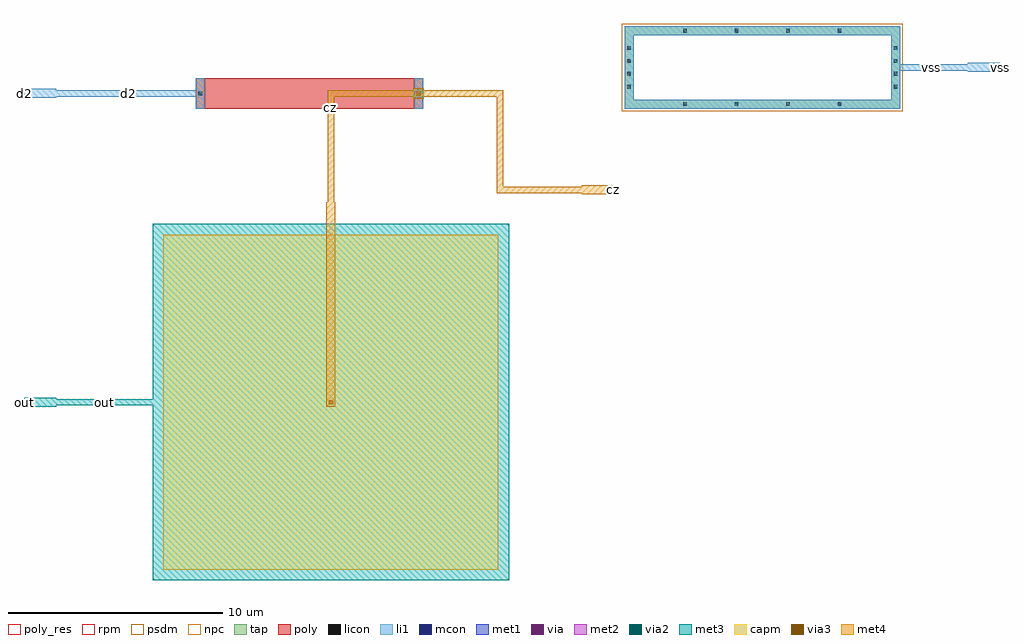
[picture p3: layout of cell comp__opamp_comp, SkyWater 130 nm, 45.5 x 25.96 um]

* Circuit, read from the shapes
.subckt comp__opamp_comp cz d2 out vss
XC1 cz out sky130_fd_pr__cap_mim_m3_1 w=15.62 l=15.62
XR2 cz d2 vss sky130_fd_pr__res_high_po w=1.41 l=9.645
.ends

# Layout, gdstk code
import gdstk
lib = gdstk.Library(unit=1e-6, precision=1e-09)
def R(c, l, rs):  # rectangles x0, y0, x1, y1
    for r in rs: c.add(gdstk.rectangle(r[:2], r[2:], *l))
def A(c, l, x, y, w, h, nx, ny, dx, dy):  # array of equal rectangles
    R(c, l, [(x+i*dx, y+j*dy, x+i*dx+w, y+j*dy+h) for i in range(nx) for j in range(ny)])
def P(c, l, *ps):  # polygons
    for p in ps: c.add(gdstk.Polygon(p, *l))
tap = (65, 44)
poly_res = (66, 13)
poly = (66, 20)
licon = (66, 44)
li1 = (67, 20)
mcon = (67, 44)
met1 = (68, 20)
via = (68, 44)
met2 = (69, 20)
via2 = (69, 44)
met3 = (70, 20)
via3 = (70, 44)
met4 = (71, 20)
rpm = (86, 20)
capm = (89, 44)
psdm = (94, 20)
npc = (95, 20)

pin_vss__stub_metal_1 = lib.new_cell('pin_vss__stub_metal$1')
R(pin_vss__stub_metal_1, li1, [(0,0,1.5,0.42)])

pin_cz__stub_metal5 = lib.new_cell('pin_cz__stub_metal5')
R(pin_cz__stub_metal5, met4, [(0,0,1.5,0.42)])

pin_out__stub_metal4 = lib.new_cell('pin_out__stub_metal4')
R(pin_out__stub_metal4, met3, [(0,0,1.5,0.42)])

pin_d2__stub_metal = lib.new_cell('pin_d2__stub_metal')
R(pin_d2__stub_metal, li1, [(0,0,1.5,0.42)])

rz_masks__comp_rz_masks = lib.new_cell('rz_masks__comp_rz_masks')
R(rz_masks__comp_rz_masks, rpm, [(2.005,22,12.61,23.41)])
R(rz_masks__comp_rz_masks, psdm, [(2.005,22,12.61,23.41)])
R(rz_masks__comp_rz_masks, npc, [(2.005,22,12.61,23.41)])

tap_masks__comp_tap_mask = lib.new_cell('tap_masks__comp_tap_masks')
R(tap_masks__comp_tap_mask, psdm, [(-0.125,-0.125,12.965,3.965)])

guard_ring = lib.new_cell('guard_ring')
P(guard_ring, tap, [(0,0),(0,3.42),(0.42,3.42),(0.42,0.42),(12.42,0.42),(12.42,3.42),(0,3.42),(0,3.84),(12.84,3.84),(12.84,0)])
A(guard_ring, licon, 2.735, 0.125, 0.17, 0.17, 4, 2, 2.4, 3.42)
A(guard_ring, licon, 0.125, 0.935, 0.17, 0.17, 1, 4, 0, 0.6)
A(guard_ring, licon, 12.545, 0.935, 0.17, 0.17, 1, 4, 0, 0.6)
P(guard_ring, li1, [(0,0),(0,3.42),(0.42,3.42),(0.42,0.42),(12.42,0.42),(12.42,3.42),(0,3.42),(0,3.84),(12.84,3.84),(12.84,0)])

tap__comp_tap = lib.new_cell('tap__comp_tap')
tap__comp_tap.add(gdstk.Reference(guard_ring, (0,0)))

cap_array = lib.new_cell('cap_array')
R(cap_array, met3, [(0,0,16.62,16.62)])
R(cap_array, via3, [(8.21,8.21,8.41,8.41)])
R(cap_array, met4, [(8.1,8.1,8.52,8.52), (8.1,8.52,8.52,17.12), (8.1,17.12,8.52,17.54)])
R(cap_array, capm, [(0.5,0.5,16.12,16.12)])

cc__comp_cc = lib.new_cell('cc__comp_cc')
cc__comp_cc.add(gdstk.Reference(cap_array, (0,0)))

res_array = lib.new_cell('res_array')
R(res_array, poly_res, [(0.42,0,10.185,1.41)])
R(res_array, poly, [(0,0,10.605,1.41)])
R(res_array, licon, [(0.125,0.62,0.295,0.79), (10.31,0.62,10.48,0.79)])
R(res_array, li1, [(0,0,0.42,1.41), (10.185,0,10.605,1.41)])
R(res_array, rpm, [(0.42,0,10.185,1.41)])
R(res_array, psdm, [(0.42,0,10.185,1.41)])

rz__comp_rz = lib.new_cell('rz__comp_rz')
rz__comp_rz.add(gdstk.Reference(res_array, (0,0)))

comp__opamp_comp = lib.new_cell('comp__opamp_comp')
R(comp__opamp_comp, li1, [(12.19,22.495,12.61,22.915), (12.19,22.495,12.61,22.915)])
R(comp__opamp_comp, mcon, [(12.315,22.62,12.485,22.79), (12.315,22.62,12.485,22.79)])
R(comp__opamp_comp, met1, [(12.19,22.495,12.61,22.915), (12.19,22.495,12.61,22.915), (12.19,22.495,12.61,22.915), (12.19,22.495,12.61,22.915)])
R(comp__opamp_comp, via, [(12.325,22.63,12.475,22.78), (12.325,22.63,12.475,22.78)])
R(comp__opamp_comp, met2, [(12.19,22.495,12.61,22.915), (12.19,22.495,12.61,22.915), (12.19,22.495,12.61,22.915), (12.19,22.495,12.61,22.915)])
R(comp__opamp_comp, via2, [(12.3,22.605,12.5,22.805), (12.3,22.605,12.5,22.805)])
R(comp__opamp_comp, met3, [(12.155,22.46,12.645,22.95), (12.155,22.46,12.645,22.95), (12.155,22.46,12.645,22.95), (12.155,22.46,12.645,22.95)])
R(comp__opamp_comp, via3, [(12.3,22.605,12.5,22.805), (12.3,22.605,12.5,22.805)])
R(comp__opamp_comp, met4, [(8.1,17.33,8.52,17.63), (12.155,22.46,12.645,22.95), (12.155,22.46,12.645,22.95)])
comp__opamp_comp.add(gdstk.FlexPath([(2.215,22.705),(-4.5,22.705)], 0.3, ends="flush", simple_path=True, layer=67, datatype=20))  # li1
comp__opamp_comp.add(gdstk.FlexPath([(34.63,23.92),(38,23.92)], 0.3, ends="flush", simple_path=True, layer=67, datatype=20))  # li1
comp__opamp_comp.add(gdstk.FlexPath([(0,8.31),(-4.5,8.31)], 0.3, ends="flush", simple_path=True, layer=70, datatype=20))  # met3
comp__opamp_comp.add(gdstk.FlexPath([(12.4,22.705),(8.31,22.705),(8.31,17.33)], 0.3, ends="flush", simple_path=True, layer=71, datatype=20))  # met4
comp__opamp_comp.add(gdstk.FlexPath([(12.4,22.705),(16.2,22.705),(16.2,18.21),(20,18.21)], 0.3, ends="flush", simple_path=True, layer=71, datatype=20))  # met4
comp__opamp_comp.add(gdstk.Reference(pin_vss__stub_metal_1, (38,23.71)))
comp__opamp_comp.add(gdstk.Reference(pin_cz__stub_metal5, (20,18)))
comp__opamp_comp.add(gdstk.Reference(pin_out__stub_metal4, (-6,8.1)))
comp__opamp_comp.add(gdstk.Reference(pin_d2__stub_metal, (-6,22.495)))
comp__opamp_comp.add(gdstk.Reference(rz_masks__comp_rz_masks, (0,0)))
comp__opamp_comp.add(gdstk.Reference(tap_masks__comp_tap_mask, (22,22)))
comp__opamp_comp.add(gdstk.Reference(tap__comp_tap, (22,22)))
comp__opamp_comp.add(gdstk.Reference(cc__comp_cc, (0,0)))
comp__opamp_comp.add(gdstk.Reference(rz__comp_rz, (2.005,22)))
comp__opamp_comp.add(gdstk.Label('out', (-2.25,8.31), layer=70, texttype=5))
comp__opamp_comp.add(gdstk.Label('out', (-6,8.31), layer=70, texttype=5))
comp__opamp_comp.add(gdstk.Label('d2', (-1.142,22.705), layer=67, texttype=5))
comp__opamp_comp.add(gdstk.Label('vss', (36.315,23.92), layer=67, texttype=5))
comp__opamp_comp.add(gdstk.Label('d2', (-6,22.705), layer=67, texttype=5))
comp__opamp_comp.add(gdstk.Label('vss', (39.5,23.92), layer=67, texttype=5))
comp__opamp_comp.add(gdstk.Label('cz', (8.31,22.062), layer=71, texttype=5))
comp__opamp_comp.add(gdstk.Label('cz', (21.5,18.21), layer=71, texttype=5))

lib.write_gds('comp__opamp_comp.gds')
